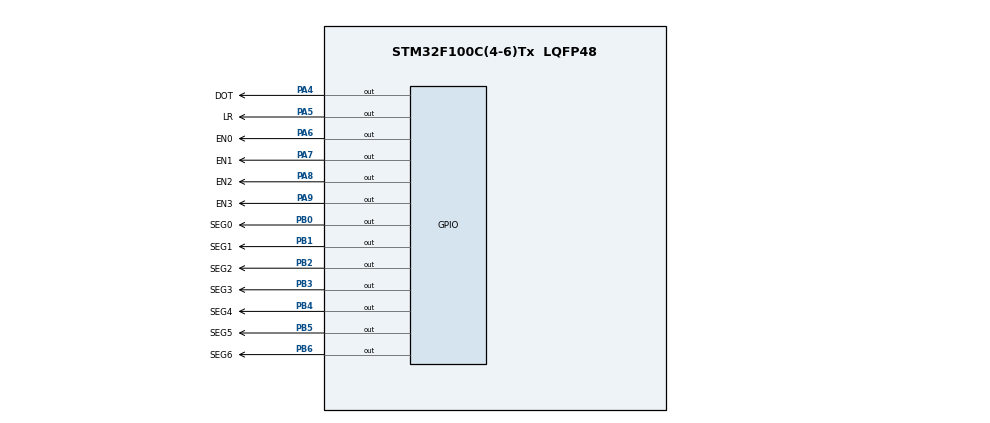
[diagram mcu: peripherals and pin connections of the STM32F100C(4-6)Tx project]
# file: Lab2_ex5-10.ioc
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Mcu.Family=STM32F1
Mcu.Name=STM32F100C(4-6)Tx
Mcu.Package=LQFP48
NVIC.PriorityGroup=NVIC_PRIORITYGROUP_4
NVIC.TIM2_IRQn=true\:0\:0\:false\:false\:true\:true\:true\:true
PA4.GPIO_Label=DOT
PA4.Signal=GPIO_Output
PA5.GPIO_Label=LR
PA5.Signal=GPIO_Output
PA6.GPIO_Label=EN0
PA6.Signal=GPIO_Output
PA7.GPIO_Label=EN1
PA7.Signal=GPIO_Output
PA8.GPIO_Label=EN2
PA8.Signal=GPIO_Output
PA9.GPIO_Label=EN3
PA9.Signal=GPIO_Output
PB0.GPIO_Label=SEG0
PB0.Signal=GPIO_Output
PB1.GPIO_Label=SEG1
PB1.Signal=GPIO_Output
PB2.GPIO_Label=SEG2
PB2.Signal=GPIO_Output
PB3.GPIO_Label=SEG3
PB3.Signal=GPIO_Output
PB4.GPIO_Label=SEG4
PB4.Signal=GPIO_Output
PB5.GPIO_Label=SEG5
PB5.Signal=GPIO_Output
PB6.GPIO_Label=SEG6
PB6.Signal=GPIO_Output
ProjectManager.HeapSize=0x200
ProjectManager.StackSize=0x400
ProjectManager.TargetToolchain=STM32CubeIDE
RCC.APB1Freq_Value=8000000
RCC.APB2Freq_Value=8000000
TIM2.Period=9
TIM2.Prescaler=7999
VP_SYS_VS_ND.Mode=No_Debug
VP_TIM2_VS_ClockSourceINT.Mode=Internal
board=custom

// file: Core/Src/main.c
/* USER CODE BEGIN Header */
/**
  ******************************************************************************
  * @file           : main.c
  * @brief          : Main program body
  ******************************************************************************
  * @attention
  *
  * Copyright (c) 2024 STMicroelectronics.
  * All rights reserved.
  *
  * This software is licensed under terms that can be found in the LICENSE file
  * in the root directory of this software component.
  * If no LICENSE file comes with this software, it is provided AS-IS.
  *
  ******************************************************************************
  */
/* USER CODE END Header */
#include "main.h"

/* USER CODE BEGIN Includes */
#include "updateClockBuffer.h"

/* USER CODE END Includes */

TIM_HandleTypeDef htim2;

void SystemClock_Config(void);
static void MX_GPIO_Init(void);
static void MX_TIM2_Init(void);

/* USER CODE BEGIN 0 */
extern int led_buffer[];

void display7SEG(int num){
		 		  switch (num){

		 		  case 0: //so 0

		 			 	 		  HAL_GPIO_WritePin(GPIOB, SEG0_Pin, 0);
		 			 	 		  HAL_GPIO_WritePin(GPIOB, SEG1_Pin, 0);
		 			 	 		  HAL_GPIO_WritePin(GPIOB, SEG2_Pin, 0);
		 			 	 		  HAL_GPIO_WritePin(GPIOB, SEG3_Pin, 0);
		 			 	 		  HAL_GPIO_WritePin(GPIOB, SEG4_Pin, 0);
		 			 	 		  HAL_GPIO_WritePin(GPIOB, SEG5_Pin, 0);
		 			 	 		  HAL_GPIO_WritePin(GPIOB, SEG6_Pin, 1);

		 			 	 		  break;
		 		  case 1: //so 1

		 			 	 		  HAL_GPIO_WritePin(GPIOB, SEG0_Pin, 1);
		 			 	 		  HAL_GPIO_WritePin(GPIOB, SEG1_Pin, 0);
		 			 	 		  HAL_GPIO_WritePin(GPIOB, SEG2_Pin, 0);
		 			 	 		  HAL_GPIO_WritePin(GPIOB, SEG3_Pin, 1);
		 			 	 		  HAL_GPIO_WritePin(GPIOB, SEG4_Pin, 1);
		 			 	 		  HAL_GPIO_WritePin(GPIOB, SEG5_Pin, 1);
		 			 	 		  HAL_GPIO_WritePin(GPIOB, SEG6_Pin, 1);

		 			 	 		  break;
		 		  case 2: //so 2

		 			 	 		  HAL_GPIO_WritePin(GPIOB, SEG0_Pin, 0);
		 			 	 		  HAL_GPIO_WritePin(GPIOB, SEG1_Pin, 0);
		 			 	 		  HAL_GPIO_WritePin(GPIOB, SEG2_Pin, 1);
		 			 	 		  HAL_GPIO_WritePin(GPIOB, SEG3_Pin, 0);
		 			 	 		  HAL_GPIO_WritePin(GPIOB, SEG4_Pin, 0);
		 			 	 		  HAL_GPIO_WritePin(GPIOB, SEG5_Pin, 1);
		 			 	 		  HAL_GPIO_WritePin(GPIOB, SEG6_Pin, 0);

		 			 	 		  break;

		 		  case 3: //so 3

		 			 	 		  HAL_GPIO_WritePin(GPIOB, SEG0_Pin, 0);
		 			 	 		  HAL_GPIO_WritePin(GPIOB, SEG1_Pin, 0);
		 			 	 		  HAL_GPIO_WritePin(GPIOB, SEG2_Pin, 0);
		 			 	 		  HAL_GPIO_WritePin(GPIOB, SEG3_Pin, 0);
		 			 	 		  HAL_GPIO_WritePin(GPIOB, SEG4_Pin, 1);
		 			 	 		  HAL_GPIO_WritePin(GPIOB, SEG5_Pin, 1);
		 			 	 		  HAL_GPIO_WritePin(GPIOB, SEG6_Pin, 0);

		 			 	 		  break;
		 		  case 4: //so 4
								  HAL_GPIO_WritePin(GPIOB, SEG0_Pin, 1);
								  HAL_GPIO_WritePin(GPIOB, SEG1_Pin, 0);
								  HAL_GPIO_WritePin(GPIOB, SEG2_Pin, 0);
								  HAL_GPIO_WritePin(GPIOB, SEG3_Pin, 1);
								  HAL_GPIO_WritePin(GPIOB, SEG4_Pin, 1);
								  HAL_GPIO_WritePin(GPIOB, SEG5_Pin, 0);
								  HAL_GPIO_WritePin(GPIOB, SEG6_Pin, 0);
								  break;
		 		  case 5: //so 5
								  HAL_GPIO_WritePin(GPIOB, SEG0_Pin, 0);
								  HAL_GPIO_WritePin(GPIOB, SEG1_Pin, 1);
								  HAL_GPIO_WritePin(GPIOB, SEG2_Pin, 0);
								  HAL_GPIO_WritePin(GPIOB, SEG3_Pin, 0);
								  HAL_GPIO_WritePin(GPIOB, SEG4_Pin, 1);
								  HAL_GPIO_WritePin(GPIOB, SEG5_Pin, 0);
								  HAL_GPIO_WritePin(GPIOB, SEG6_Pin, 0);
								  break;
		 		  case 6: //so 6
								  HAL_GPIO_WritePin(GPIOB, SEG0_Pin, 0);
								  HAL_GPIO_WritePin(GPIOB, SEG1_Pin, 1);
								  HAL_GPIO_WritePin(GPIOB, SEG2_Pin, 0);
								  HAL_GPIO_WritePin(GPIOB, SEG3_Pin, 0);
								  HAL_GPIO_WritePin(GPIOB, SEG4_Pin, 0);
								  HAL_GPIO_WritePin(GPIOB, SEG5_Pin, 0);
								  HAL_GPIO_WritePin(GPIOB, SEG6_Pin, 0);
								  break;
		 		  case 7: //so 7
								  HAL_GPIO_WritePin(GPIOB, SEG0_Pin, 0);
								  HAL_GPIO_WritePin(GPIOB, SEG1_Pin, 0);
								  HAL_GPIO_WritePin(GPIOB, SEG2_Pin, 0);
								  HAL_GPIO_WritePin(GPIOB, SEG3_Pin, 1);
								  HAL_GPIO_WritePin(GPIOB, SEG4_Pin, 1);
								  HAL_GPIO_WritePin(GPIOB, SEG5_Pin, 1);
								  HAL_GPIO_WritePin(GPIOB, SEG6_Pin, 1);
								  break;
		 		  case 8: //so 8
								  HAL_GPIO_WritePin(GPIOB, SEG0_Pin, 0);
								  HAL_GPIO_WritePin(GPIOB, SEG1_Pin, 0);
								  HAL_GPIO_WritePin(GPIOB, SEG2_Pin, 0);
								  HAL_GPIO_WritePin(GPIOB, SEG3_Pin, 0);
								  HAL_GPIO_WritePin(GPIOB, SEG4_Pin, 0);
								  HAL_GPIO_WritePin(GPIOB, SEG5_Pin, 0);
								  HAL_GPIO_WritePin(GPIOB, SEG6_Pin, 0);
								  break;
		 		  case 9: //so 9
								  HAL_GPIO_WritePin(GPIOB, SEG0_Pin, 0);
								  HAL_GPIO_WritePin(GPIOB, SEG1_Pin, 0);
								  HAL_GPIO_WritePin(GPIOB, SEG2_Pin, 0);
								  HAL_GPIO_WritePin(GPIOB, SEG3_Pin, 0);
								  HAL_GPIO_WritePin(GPIOB, SEG4_Pin, 1);
								  HAL_GPIO_WritePin(GPIOB, SEG5_Pin, 0);
								  HAL_GPIO_WritePin(GPIOB, SEG6_Pin, 0);
								  break;

		 		  default:
		 			  	  	  	  break;

		 		  }

}
//void update7SEG(int index){
//	switch(index){
//	case 0:
//		display7SEG(led_buffer[0]);
//		break;
//	case 1:
//		display7SEG(led_buffer[1]);
//		break;
//	case 2:
//		display7SEG(led_buffer[2]);
//		break;
//	case 3:
//		display7SEG(led_buffer[3]);
//		break;
//	default:
//		break;
//	}
//}
/* USER CODE END 0 */

int main(void)
{

  /* MCU Configuration--------------------------------------------------------*/

  /* Reset of all peripherals, Initializes the Flash interface and the Systick. */
  HAL_Init();

  /* Configure the system clock */
  SystemClock_Config();

  /* Initialize all configured peripherals */
  MX_GPIO_Init();
  MX_TIM2_Init();
  /* USER CODE BEGIN 2 */
  HAL_TIM_Base_Start_IT(&htim2);

  /* USER CODE END 2 */

  /* Infinite loop */
  /* USER CODE BEGIN WHILE */

//b5,6,7,8 j do ko nho
	int hour = 12 , minute = 4 , second = 50;
//	setTimer0(10);

//b5
//	      second ++;
//	      	   if ( second >= 60) {
//	      		   second = 0;
//	      		   minute ++;
//	      	   }
//	      	   if( minute >= 60) {
//	      		   minute = 0;
//	      		   hour ++;
//	      	   }
//	      	   if( hour >=24) {
//	      		   hour = 0;
//	      	   }
//	      	   updateClockBuffer(hour, minute);

//b7
//	  if(timer0_flag == 1){
//		  second++;
//		  HAL_GPIO_TogglePin(DOT_GPIO_Port , DOT_Pin);
//	 }
//	  if ( second >= 60) {
//	  	   second = 0;
//	  	   minute ++;
//	 }
//	  if( minute >= 60) {
//	  	   minute = 0;
//	  	   hour ++;
//	 }
//	  if( hour >=24) {
//	  	   hour = 0;
//	 }
//	 updateClockBuffer(hour, minute);

//b8
	const int MAX_LED = 4;
	setTimer1(100);
	setTimer2(100);
	setTimer0(100);
	int index_led = 0;
  while (1)
  {
//b8
	  //timer1 manages led logic
	  if(timer1_flag == 1){
		  index_led++;
		  switch(index_led){
		  case 1:

			  display7SEG(led_buffer[0]);

		  	  HAL_GPIO_WritePin(GPIOA, EN0_Pin, 0);
			  HAL_GPIO_WritePin(GPIOA, EN1_Pin, 1);
			  HAL_GPIO_WritePin(GPIOA, EN2_Pin, 1);
			  HAL_GPIO_WritePin(GPIOA, EN3_Pin, 1);

			  break;
		  case 2:
			  display7SEG(led_buffer[1]);

			  HAL_GPIO_WritePin(GPIOA, EN0_Pin, 1);
			  HAL_GPIO_WritePin(GPIOA, EN1_Pin, 0);
			  HAL_GPIO_WritePin(GPIOA, EN2_Pin, 1);
			  HAL_GPIO_WritePin(GPIOA, EN3_Pin, 1);

			  break;
		  case 3:
			  display7SEG(led_buffer[2]);

			  HAL_GPIO_WritePin(GPIOA, EN0_Pin, 1);
			  HAL_GPIO_WritePin(GPIOA, EN1_Pin, 1);
			  HAL_GPIO_WritePin(GPIOA, EN2_Pin, 0);
			  HAL_GPIO_WritePin(GPIOA, EN3_Pin, 1);

			  break;
		  case 4:
			  display7SEG(led_buffer[3]);

				  HAL_GPIO_WritePin(GPIOA, EN0_Pin, 1);
				  HAL_GPIO_WritePin(GPIOA, EN1_Pin, 1);
				  HAL_GPIO_WritePin(GPIOA, EN2_Pin, 1);
				  HAL_GPIO_WritePin(GPIOA, EN3_Pin, 0);

				  break;

			  default:
				  break;
		  }
				 if(index_led >= MAX_LED){
					 index_led = 0;
				 }
				 setTimer1(100);

	  } //end if

	  //timer2_flag manages clock logic
	  	  if(timer2_flag == 1){
	  		  second++;

	  		  if ( second >= 60) {
	  		  	   second = 0;
	  		  	   minute ++;
	  		 }
	  		  if( minute >= 60) {
	  		  	   minute = 0;
	  		  	   hour ++;
	  		 }
	  		  if( hour >= 24) {
	  		  	   hour = 0;
	  		 }
	  		 updateClockBuffer(hour, minute);
	  		 setTimer2(100);
	  	  }

	  	  	 if(timer0_flag == 1){
		  		  HAL_GPIO_TogglePin(DOT_GPIO_Port , DOT_Pin);
				  HAL_GPIO_TogglePin(GPIOA, LR_Pin);
				  setTimer0(100);
	  	  	 }

    /* USER CODE END WHILE */

  }
}

void SystemClock_Config(void)
{
  RCC_OscInitTypeDef RCC_OscInitStruct = {0};
  RCC_ClkInitTypeDef RCC_ClkInitStruct = {0};

  /** Initializes the RCC Oscillators according to the specified parameters
  * in the RCC_OscInitTypeDef structure.
  */
  RCC_OscInitStruct.OscillatorType = RCC_OSCILLATORTYPE_HSI;
  RCC_OscInitStruct.HSIState = RCC_HSI_ON;
  RCC_OscInitStruct.HSICalibrationValue = RCC_HSICALIBRATION_DEFAULT;
  RCC_OscInitStruct.PLL.PLLState = RCC_PLL_NONE;
  if (HAL_RCC_OscConfig(&RCC_OscInitStruct) != HAL_OK)
  {
    Error_Handler();
  }

  /** Initializes the CPU, AHB and APB buses clocks
  */
  RCC_ClkInitStruct.ClockType = RCC_CLOCKTYPE_HCLK|RCC_CLOCKTYPE_SYSCLK
                              |RCC_CLOCKTYPE_PCLK1|RCC_CLOCKTYPE_PCLK2;
  RCC_ClkInitStruct.SYSCLKSource = RCC_SYSCLKSOURCE_HSI;
  RCC_ClkInitStruct.AHBCLKDivider = RCC_SYSCLK_DIV1;
  RCC_ClkInitStruct.APB1CLKDivider = RCC_HCLK_DIV1;
  RCC_ClkInitStruct.APB2CLKDivider = RCC_HCLK_DIV1;

  if (HAL_RCC_ClockConfig(&RCC_ClkInitStruct, FLASH_LATENCY_0) != HAL_OK)
  {
    Error_Handler();
  }
}

static void MX_TIM2_Init(void)
{

  TIM_ClockConfigTypeDef sClockSourceConfig = {0};
  TIM_MasterConfigTypeDef sMasterConfig = {0};

  htim2.Instance = TIM2;
  htim2.Init.Prescaler = 7999;
  htim2.Init.CounterMode = TIM_COUNTERMODE_UP;
  htim2.Init.Period = 9;
  htim2.Init.ClockDivision = TIM_CLOCKDIVISION_DIV1;
  htim2.Init.AutoReloadPreload = TIM_AUTORELOAD_PRELOAD_DISABLE;
  if (HAL_TIM_Base_Init(&htim2) != HAL_OK)
  {
    Error_Handler();
  }
  sClockSourceConfig.ClockSource = TIM_CLOCKSOURCE_INTERNAL;
  if (HAL_TIM_ConfigClockSource(&htim2, &sClockSourceConfig) != HAL_OK)
  {
    Error_Handler();
  }
  sMasterConfig.MasterOutputTrigger = TIM_TRGO_RESET;
  sMasterConfig.MasterSlaveMode = TIM_MASTERSLAVEMODE_DISABLE;
  if (HAL_TIMEx_MasterConfigSynchronization(&htim2, &sMasterConfig) != HAL_OK)
  {
    Error_Handler();
  }

}

static void MX_GPIO_Init(void)
{
  GPIO_InitTypeDef GPIO_InitStruct = {0};

  /* GPIO Ports Clock Enable */
  __HAL_RCC_GPIOA_CLK_ENABLE();
  __HAL_RCC_GPIOB_CLK_ENABLE();

  /*Configure GPIO pin Output Level */
  HAL_GPIO_WritePin(GPIOA, DOT_Pin|LR_Pin|EN0_Pin|EN1_Pin
                          |EN2_Pin|EN3_Pin, GPIO_PIN_RESET);

  /*Configure GPIO pin Output Level */
  HAL_GPIO_WritePin(GPIOB, SEG0_Pin|SEG1_Pin|SEG2_Pin|SEG3_Pin
                          |SEG4_Pin|SEG5_Pin|SEG6_Pin, GPIO_PIN_RESET);

  /*Configure GPIO pins : DOT_Pin LR_Pin EN0_Pin EN1_Pin
                           EN2_Pin EN3_Pin */
  GPIO_InitStruct.Pin = DOT_Pin|LR_Pin|EN0_Pin|EN1_Pin
                          |EN2_Pin|EN3_Pin;
  GPIO_InitStruct.Mode = GPIO_MODE_OUTPUT_PP;
  GPIO_InitStruct.Pull = GPIO_NOPULL;
  GPIO_InitStruct.Speed = GPIO_SPEED_FREQ_LOW;
  HAL_GPIO_Init(GPIOA, &GPIO_InitStruct);

  /*Configure GPIO pins : SEG0_Pin SEG1_Pin SEG2_Pin SEG3_Pin
                           SEG4_Pin SEG5_Pin SEG6_Pin */
  GPIO_InitStruct.Pin = SEG0_Pin|SEG1_Pin|SEG2_Pin|SEG3_Pin
                          |SEG4_Pin|SEG5_Pin|SEG6_Pin;
  GPIO_InitStruct.Mode = GPIO_MODE_OUTPUT_PP;
  GPIO_InitStruct.Pull = GPIO_NOPULL;
  GPIO_InitStruct.Speed = GPIO_SPEED_FREQ_LOW;
  HAL_GPIO_Init(GPIOB, &GPIO_InitStruct);

}

/* USER CODE BEGIN 4 */
void HAL_TIM_PeriodElapsedCallback(TIM_HandleTypeDef *htim){
	timer_run();
}

/* USER CODE END 4 */

void Error_Handler(void)
{
  __disable_irq();
  while (1)
  {
  }
}
